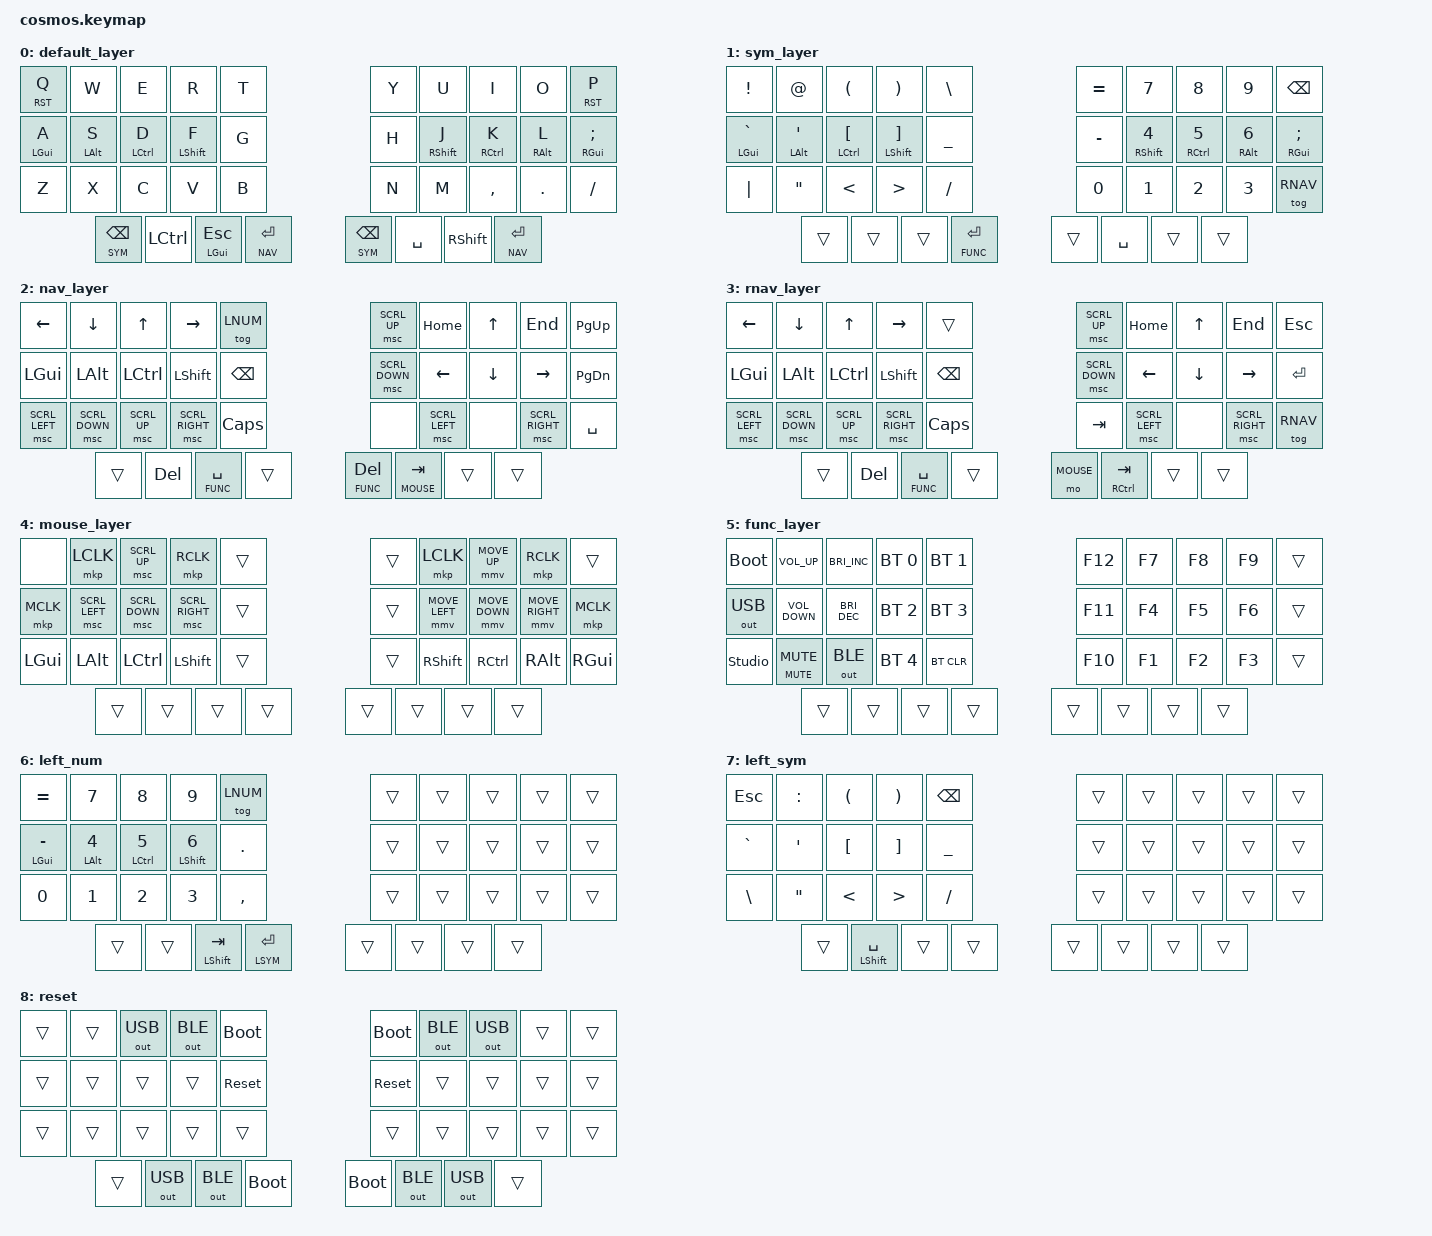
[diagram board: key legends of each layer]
#define ZMK_POINTING_DEFAULT_MOVE_VAL 2000

#include <behaviors.dtsi>
#include <dt-bindings/zmk/pointing.h>
#include <dt-bindings/zmk/bt.h>
#include <dt-bindings/zmk/keys.h>
#include <dt-bindings/zmk/outputs.h>

#define DEFAULT 0
#define SYM     1
#define NAV     2
#define RNAV    3
#define MOUSE   4
#define FUNC    5
#define LNUM    6
#define LSYM    7
#define RST     8

&caps_word {
    continue-list = <UNDERSCORE MINUS>;
};

&mmv {
    time-to-max-speed-ms = <2000>;
    acceleration-exponent = <1>;
};

/ {
    combos {
        compatible = "zmk,combos";
    };
};

/ {
    behaviors {
        hm: homerow_mods {
            compatible = "zmk,behavior-hold-tap";
            label = "HOMEROW_MODS";
            #binding-cells = <2>;
            tapping-term-ms = <200>;
            flavor = "balanced";
            bindings = <&kp>, <&kp>;

            quick-tap-ms = <0>;
        };

        hs: homerow_shift {
            compatible = "zmk,behavior-hold-tap";
            label = "HOMEROW_SHIFT";
            #binding-cells = <2>;
            tapping-term-ms = <175>;
            flavor = "balanced";
            bindings = <&kp>, <&kp>;

            quick-tap-ms = <0>;
        };

        rst: reset_hold_tap {
            compatible = "zmk,behavior-hold-tap";
            label = "reset_hold_tap";
            bindings = <&mo>, <&kp>;

            #binding-cells = <2>;
            tapping-term-ms = <999>;
            flavor = "tap-preferred";
            quick-tap-ms = <200>;
        };

        bsp_l: bsp_l {
            compatible = "zmk,behavior-hold-tap";
            label = "BSP_L";
            bindings = <&mo>, <&kp>;

            #binding-cells = <2>;
            tapping-term-ms = <200>;
            quick-tap-ms = <100>;
        };

        placeholder: placeholder {
            compatible = "zmk,behavior-hold-tap";
            label = "PLACEHOLDER";
            bindings = <&mo>, <&kp>;

            #binding-cells = <2>;
            tapping-term-ms = <200>;
        };
    };

    keymap {
        compatible = "zmk,keymap";

        default_layer {
            display-name = "default_layer";
            bindings = <
//    ┌──────────────┬─────────────────┬────────────┬─────────────┬────────────┐   ┌─────────────────┬────────────┬────────────┬────────────┬──────────────┐
//    │ &rst rsftT Q │        W        │     E      │      R      │     T      │   │        Y        │     U      │     I      │     O      │ &rst rsftT P │
//    ├──────────────┼─────────────────┼────────────┼─────────────┼────────────┤   ├─────────────────┼────────────┼────────────┼────────────┼──────────────┤
//    │  &hm lgui A  │   &hm lalt S    │ &hm lctl D │ &hs lsft F  │     G      │   │        H        │ &hs rsft J │ &hm rctl K │ &hm ralt L │  &hm rgui ;  │
//    ├──────────────┼─────────────────┼────────────┼─────────────┼────────────┤   ├─────────────────┼────────────┼────────────┼────────────┼──────────────┤
//    │      Z       │        X        │     C      │      V      │     B      │   │        N        │     M      │     ,      │     .      │      /       │
//    └──────────────┼─────────────────┼────────────┼─────────────┼────────────┤   ├─────────────────┼────────────┼────────────┼────────────┼──────────────┘
//                   │ &bsp_l SYM bspc │    lctl    │ mt lgui esc │ lt NAV ent │   │ &bsp_l SYM bspc │    spc     │    rsft    │ lt NAV ent │
//                   └─────────────────┴────────────┴─────────────┴────────────┘   └─────────────────┴────────────┴────────────┴────────────┘
  &rst RST Q   &kp W             &kp E         &kp R          &kp T               &kp Y             &kp U          &kp I         &kp O           &rst RST P
  &hm LGUI A   &hm LALT S        &hm LCTRL D   &hs LSHIFT F   &kp G               &kp H             &hs RSHIFT J   &hm RCTRL K   &hm RALT L      &hm RGUI SEMI
  &kp Z        &kp X             &kp C         &kp V          &kp B               &kp N             &kp M          &kp COMMA     &kp DOT         &kp FSLH
               &bsp_l SYM BSPC   &kp LCTRL     &mt LGUI ESC   &lt NAV ENTER       &bsp_l SYM BSPC   &kp SPACE      &kp RSHIFT    &lt NAV ENTER
            >;
        };

        sym_layer {
            display-name = "sym_layer";
            bindings = <
//    ┌────────────┬────────────┬────────────┬────────────┬─────────────┐   ┌─────┬────────────┬────────────┬────────────┬────────────┐
//    │     !      │     @      │     (      │     )      │      \      │   │  =  │     7      │     8      │     9      │    bspc    │
//    ├────────────┼────────────┼────────────┼────────────┼─────────────┤   ├─────┼────────────┼────────────┼────────────┼────────────┤
//    │ &hm lgui ` │ &hm lalt ' │ &hm lctl [ │ &hs lsft ] │      _      │   │  -  │ &hs rsft 4 │ &hm rctl 5 │ &hm ralt 6 │ &hm rgui ; │
//    ├────────────┼────────────┼────────────┼────────────┼─────────────┤   ├─────┼────────────┼────────────┼────────────┼────────────┤
//    │     |      │     "      │     <      │     >      │      /      │   │  0  │     1      │     2      │     3      │  tog RNAV  │
//    └────────────┼────────────┼────────────┼────────────┼─────────────┤   ├─────┼────────────┼────────────┼────────────┼────────────┘
//                 │            │            │            │ lt FUNC ent │   │     │    spc     │            │            │
//                 └────────────┴────────────┴────────────┴─────────────┘   └─────┴────────────┴────────────┴────────────┘
  &kp EXCL         &kp AT              &kp LPAR         &kp RPAR          &kp BACKSLASH        &kp EQUAL   &kp N7         &kp N8         &kp N9        &kp BSPC
  &hm LGUI GRAVE   &hm LALT APOS       &hm LCTRL LBKT   &hs LSHIFT RBKT   &kp UNDER            &kp MINUS   &hs RSHFT N4   &hm RCTRL N5   &hm RALT N6   &hm RGUI SEMI
  &kp PIPE         &kp DOUBLE_QUOTES   &kp LT           &kp GT            &kp SLASH            &kp N0      &kp N1         &kp N2         &kp N3        &tog RNAV
                   &trans              &trans           &trans            &lt FUNC ENTER       &trans      &kp SPACE      &trans         &trans
            >;
        };

        nav_layer {
            display-name = "nav_layer";
            bindings = <
//    ┌────────────────┬────────────────┬──────────────┬────────────────┬──────────┐   ┌────────────────┬────────────────┬──────┬────────────────┬──────┐
//    │      left      │      down      │      up      │      rght      │ tog LNUM │   │  &msc SCRL_up  │      home      │  up  │      end       │ pgup │
//    ├────────────────┼────────────────┼──────────────┼────────────────┼──────────┤   ├────────────────┼────────────────┼──────┼────────────────┼──────┤
//    │      lgui      │      lalt      │     lctl     │      lsft      │   bspc   │   │ &msc SCRL_down │      left      │ down │      rght      │ pgdn │
//    ├────────────────┼────────────────┼──────────────┼────────────────┼──────────┤   ├────────────────┼────────────────┼──────┼────────────────┼──────┤
//    │ &msc SCRL_left │ &msc SCRL_down │ &msc SCRL_up │ &msc SCRL_rght │   caps   │   │                │ &msc SCRL_left │      │ &msc SCRL_rght │ spc  │
//    └────────────────┼────────────────┼──────────────┼────────────────┼──────────┤   ├────────────────┼────────────────┼──────┼────────────────┼──────┘
//                     │                │     del      │  lt FUNC spc   │          │   │  lt FUNC del   │  lt MOUSE tab  │      │                │
//                     └────────────────┴──────────────┴────────────────┴──────────┘   └────────────────┴────────────────┴──────┴────────────────┘
  &kp LEFT         &kp DOWN         &kp UP         &kp RIGHT         &tog LNUM       &msc SCRL_UP     &kp HOME         &kp UP     &kp END           &kp PG_UP
  &kp LGUI         &kp LALT         &kp LCTRL      &kp LSHFT         &kp BSPC        &msc SCRL_DOWN   &kp LEFT         &kp DOWN   &kp RIGHT         &kp PG_DN
  &msc SCRL_LEFT   &msc SCRL_DOWN   &msc SCRL_UP   &msc SCRL_RIGHT   &kp CAPS        &none            &msc SCRL_LEFT   &none      &msc SCRL_RIGHT   &kp SPACE
                   &trans           &kp DEL        &lt FUNC SPACE    &trans          &lt FUNC DEL     &lt MOUSE TAB    &trans     &trans
            >;
        };

        
        rnav_layer {
            display-name = "rnav_layer";
            bindings = <
//    ┌────────────────┬────────────────┬──────────────┬────────────────┬──────┐   ┌────────────────┬────────────────┬──────┬────────────────┬──────────┐
//    │      left      │      down      │      up      │      rght      │      │   │  &msc SCRL_up  │      home      │  up  │      end       │   esc    │
//    ├────────────────┼────────────────┼──────────────┼────────────────┼──────┤   ├────────────────┼────────────────┼──────┼────────────────┼──────────┤
//    │      lgui      │      lalt      │     lctl     │      lsft      │ bspc │   │ &msc SCRL_down │      left      │ down │      rght      │   ent    │
//    ├────────────────┼────────────────┼──────────────┼────────────────┼──────┤   ├────────────────┼────────────────┼──────┼────────────────┼──────────┤
//    │ &msc SCRL_left │ &msc SCRL_down │ &msc SCRL_up │ &msc SCRL_rght │ caps │   │      tab       │ &msc SCRL_left │      │ &msc SCRL_rght │ tog RNAV │
//    └────────────────┼────────────────┼──────────────┼────────────────┼──────┤   ├────────────────┼────────────────┼──────┼────────────────┼──────────┘
//                     │                │     del      │  lt FUNC spc   │      │   │    mo MOUSE    │  mt rctl tab   │      │                │
//                     └────────────────┴──────────────┴────────────────┴──────┘   └────────────────┴────────────────┴──────┴────────────────┘
  &kp LEFT         &kp DOWN         &kp UP         &kp RIGHT         &trans         &msc SCRL_UP     &kp HOME         &kp UP     &kp END           &kp ESC
  &kp LGUI         &kp LALT         &kp LCTRL      &kp LSHFT         &kp BSPC       &msc SCRL_DOWN   &kp LEFT         &kp DOWN   &kp RIGHT         &kp ENTER
  &msc SCRL_LEFT   &msc SCRL_DOWN   &msc SCRL_UP   &msc SCRL_RIGHT   &kp CAPS       &kp TAB          &msc SCRL_LEFT   &none      &msc SCRL_RIGHT   &tog RNAV
                   &trans           &kp DEL        &lt FUNC SPACE    &trans         &mo MOUSE        &mt RCTRL TAB    &trans     &trans
            >;
        };

        mouse_layer {
            display-name = "mouse_layer";
            bindings = <
//    ┌──────┬────────────────┬────────────────┬────────────────┬─────┐   ┌─────┬────────────────┬────────────────┬────────────────┬──────┐
//    │      │      lclk      │  &msc SCRL_up  │      rclk      │     │   │     │      lclk      │  &mmv MOVE_up  │      rclk      │      │
//    ├──────┼────────────────┼────────────────┼────────────────┼─────┤   ├─────┼────────────────┼────────────────┼────────────────┼──────┤
//    │ mclk │ &msc SCRL_left │ &msc SCRL_down │ &msc SCRL_rght │     │   │     │ &mmv MOVE_left │ &mmv MOVE_down │ &mmv MOVE_rght │ mclk │
//    ├──────┼────────────────┼────────────────┼────────────────┼─────┤   ├─────┼────────────────┼────────────────┼────────────────┼──────┤
//    │ lgui │      lalt      │      lctl      │      lsft      │     │   │     │      rsft      │      rctl      │      ralt      │ rgui │
//    └──────┼────────────────┼────────────────┼────────────────┼─────┤   ├─────┼────────────────┼────────────────┼────────────────┼──────┘
//           │                │                │                │     │   │     │                │                │                │
//           └────────────────┴────────────────┴────────────────┴─────┘   └─────┴────────────────┴────────────────┴────────────────┘
  &none       &mkp LCLK        &msc SCRL_UP     &mkp RCLK         &trans       &trans   &mkp LCLK        &mmv MOVE_UP     &mkp RCLK         &trans
  &mkp MCLK   &msc SCRL_LEFT   &msc SCRL_DOWN   &msc SCRL_RIGHT   &trans       &trans   &mmv MOVE_LEFT   &mmv MOVE_DOWN   &mmv MOVE_RIGHT   &mkp MCLK
  &kp LGUI    &kp LALT         &kp LCTRL        &kp LSHFT         &trans       &trans   &kp RSHFT        &kp RCTRL        &kp RALT          &kp RGUI
              &trans           &trans           &trans            &trans       &trans   &trans           &trans           &trans
            >;
        };

        func_layer {
            display-name = "func_layer";
            bindings = <
//    ┌────────────────┬──────────────┬──────────┬──────────┬──────────┐   ┌─────┬─────┬─────┬─────┬─────┐
//    │      boot      │     volu     │   bri+   │ bt_sel 0 │ bt_sel 1 │   │ f12 │ f7  │ f8  │ f9  │     │
//    ├────────────────┼──────────────┼──────────┼──────────┼──────────┤   ├─────┼─────┼─────┼─────┼─────┤
//    │    out_ usb    │     vold     │   bri-   │ bt_sel 2 │ bt_sel 3 │   │ f11 │ f4  │ f5  │ f6  │     │
//    ├────────────────┼──────────────┼──────────┼──────────┼──────────┤   ├─────┼─────┼─────┼─────┼─────┤
//    │ &studio_unlock │ mt mute mute │ out_ ble │ bt_sel 4 │  bt_clr  │   │ f10 │ f1  │ f2  │ f3  │     │
//    └────────────────┼──────────────┼──────────┼──────────┼──────────┤   ├─────┼─────┼─────┼─────┼─────┘
//                     │              │          │          │          │   │     │     │     │     │
//                     └──────────────┴──────────┴──────────┴──────────┘   └─────┴─────┴─────┴─────┘
  &bootloader      &kp C_VOLUME_UP     &kp C_BRIGHTNESS_INC   &bt BT_SEL 0   &bt BT_SEL 1       &kp F12   &kp F7   &kp F8   &kp F9   &trans
  &out OUT_USB     &kp C_VOLUME_DOWN   &kp C_BRIGHTNESS_DEC   &bt BT_SEL 2   &bt BT_SEL 3       &kp F11   &kp F4   &kp F5   &kp F6   &trans
  &studio_unlock   &mt C_MUTE K_MUTE   &out OUT_BLE           &bt BT_SEL 4   &bt BT_CLR         &kp F10   &kp F1   &kp F2   &kp F3   &trans
                   &trans              &trans                 &trans         &trans             &trans    &trans   &trans   &trans
            >;
        };

        left_num {
            display-name = "left_num";
            bindings = <
//    ┌────────────┬────────────┬────────────┬─────────────┬───────────────┐   ┌─────┬─────┬─────┬─────┬─────┐
//    │     =      │     7      │     8      │      9      │   tog LNUM    │   │     │     │     │     │     │
//    ├────────────┼────────────┼────────────┼─────────────┼───────────────┤   ├─────┼─────┼─────┼─────┼─────┤
//    │ &hm lgui - │ &hm lalt 4 │ &hm lctl 5 │ &hs lsft 6  │       .       │   │     │     │     │     │     │
//    ├────────────┼────────────┼────────────┼─────────────┼───────────────┤   ├─────┼─────┼─────┼─────┼─────┤
//    │     0      │     1      │     2      │      3      │       ,       │   │     │     │     │     │     │
//    └────────────┼────────────┼────────────┼─────────────┼───────────────┤   ├─────┼─────┼─────┼─────┼─────┘
//                 │            │            │ mt lsft tab │ lt lsftYM ent │   │     │     │     │     │
//                 └────────────┴────────────┴─────────────┴───────────────┘   └─────┴─────┴─────┴─────┘
  &kp EQUAL        &kp N7        &kp N8         &kp N9          &tog LNUM            &trans   &trans   &trans   &trans   &trans
  &hm LGUI MINUS   &hm LALT N4   &hm LCTRL N5   &hs LSHFT N6    &kp DOT              &trans   &trans   &trans   &trans   &trans
  &kp N0           &kp N1        &kp N2         &kp N3          &kp COMMA            &trans   &trans   &trans   &trans   &trans
                   &trans        &trans         &mt LSHFT TAB   &lt LSYM ENTER       &trans   &trans   &trans   &trans
            >;
        };

        left_sym {
            display-name = "left_sym";
            bindings = <
//    ┌─────┬─────┬─────────────┬─────┬──────┐   ┌─────┬─────┬─────┬─────┬─────┐
//    │ esc │  :  │      (      │  )  │ bspc │   │     │     │     │     │     │
//    ├─────┼─────┼─────────────┼─────┼──────┤   ├─────┼─────┼─────┼─────┼─────┤
//    │  `  │  '  │      [      │  ]  │  _   │   │     │     │     │     │     │
//    ├─────┼─────┼─────────────┼─────┼──────┤   ├─────┼─────┼─────┼─────┼─────┤
//    │  \  │  "  │      <      │  >  │  /   │   │     │     │     │     │     │
//    └─────┼─────┼─────────────┼─────┼──────┤   ├─────┼─────┼─────┼─────┼─────┘
//          │     │ mt lsft spc │     │      │   │     │     │     │     │
//          └─────┴─────────────┴─────┴──────┘   └─────┴─────┴─────┴─────┘
  &kp ESC     &kp COLON           &kp LPAR          &kp RPAR   &kp BSPC        &trans   &trans   &trans   &trans   &trans
  &kp GRAVE   &kp SQT             &kp LBKT          &kp RBKT   &kp UNDER       &trans   &trans   &trans   &trans   &trans
  &kp BSLH    &kp DOUBLE_QUOTES   &kp LT            &kp GT     &kp FSLH        &trans   &trans   &trans   &trans   &trans
              &trans              &mt LSHFT SPACE   &trans     &trans          &trans   &trans   &trans   &trans
            >;
        };

        reset {
            display-name = "reset";
            bindings = <
//    ┌─────┬─────┬──────────┬──────────┬────────────┐   ┌────────────┬──────────┬──────────┬─────┬─────┐
//    │     │     │ out_ usb │ out_ ble │    boot    │   │    boot    │ out_ ble │ out_ usb │     │     │
//    ├─────┼─────┼──────────┼──────────┼────────────┤   ├────────────┼──────────┼──────────┼─────┼─────┤
//    │     │     │          │          │ &sys_reset │   │ &sys_reset │          │          │     │     │
//    ├─────┼─────┼──────────┼──────────┼────────────┤   ├────────────┼──────────┼──────────┼─────┼─────┤
//    │     │     │          │          │            │   │            │          │          │     │     │
//    └─────┼─────┼──────────┼──────────┼────────────┤   ├────────────┼──────────┼──────────┼─────┼─────┘
//          │     │ out_ usb │ out_ ble │    boot    │   │    boot    │ out_ ble │ out_ usb │     │
//          └─────┴──────────┴──────────┴────────────┘   └────────────┴──────────┴──────────┴─────┘
  &trans   &trans   &out OUT_USB   &out OUT_BLE   &bootloader       &bootloader   &out OUT_BLE   &out OUT_USB   &trans   &trans
  &trans   &trans   &trans         &trans         &sys_reset        &sys_reset    &trans         &trans         &trans   &trans
  &trans   &trans   &trans         &trans         &trans            &trans        &trans         &trans         &trans   &trans
           &trans   &out OUT_USB   &out OUT_BLE   &bootloader       &bootloader   &out OUT_BLE   &out OUT_USB   &trans
            >;
        };
    };
};
